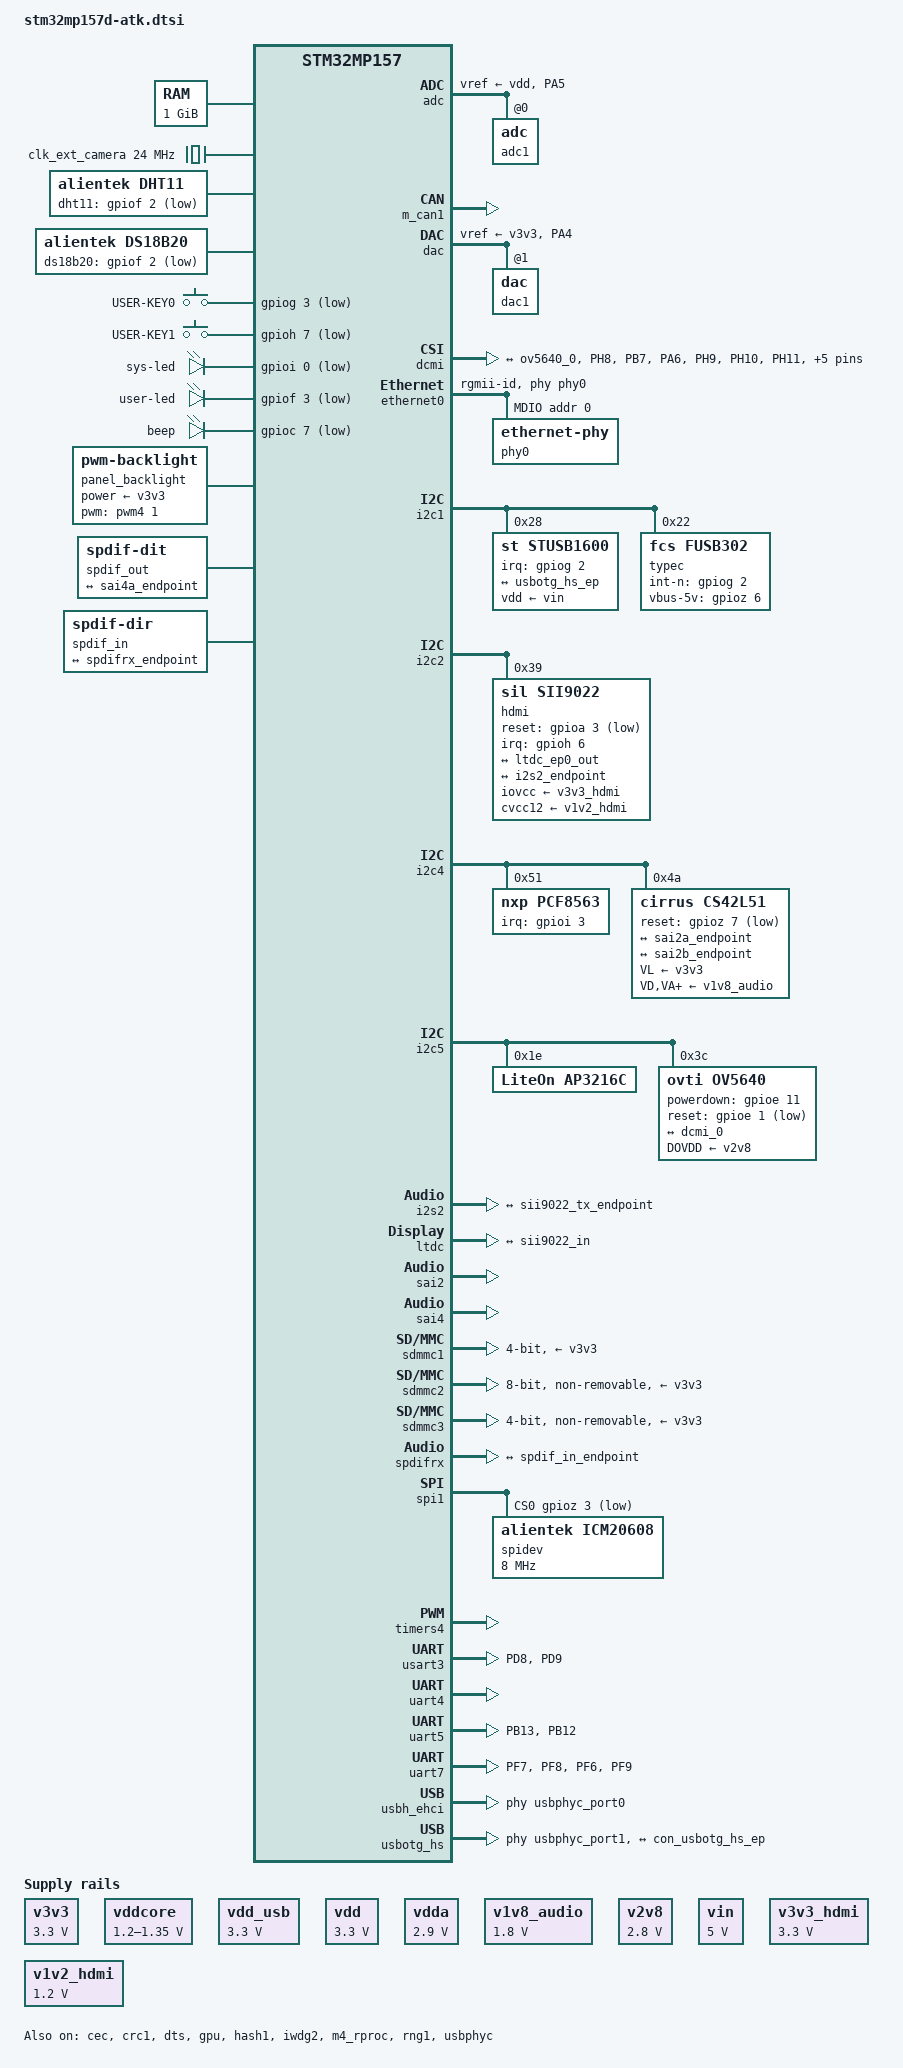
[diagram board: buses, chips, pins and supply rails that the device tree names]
// SPDX-License-Identifier: (GPL-2.0+ OR BSD-3-Clause)
/*
 * Copyright (C) STMicroelectronics 2019 - All Rights Reserved
 * Author: Alexandre Torgue <alexandre.torgue@st.com> for STMicroelectronics.
 */

#include "stm32mp157-m4-srm.dtsi"
#include "stm32mp157-m4-srm-pinctrl.dtsi"
#include <dt-bindings/mfd/st,stpmic1.h>
#include <dt-bindings/usb/pd.h>

/ {
	memory@c0000000 {
		device_type = "memory";
		reg = <0xc0000000 0x40000000>;
	};

	reserved-memory {
		#address-cells = <1>;
		#size-cells = <1>;
		ranges;

		mcuram2: mcuram2@10000000 {
			compatible = "shared-dma-pool";
			reg = <0x10000000 0x40000>;
			no-map;
		};

		vdev0vring0: vdev0vring0@10040000 {
			compatible = "shared-dma-pool";
			reg = <0x10040000 0x1000>;
			no-map;
		};

		vdev0vring1: vdev0vring1@10041000 {
			compatible = "shared-dma-pool";
			reg = <0x10041000 0x1000>;
			no-map;
		};

		vdev0buffer: vdev0buffer@10042000 {
			compatible = "shared-dma-pool";
			reg = <0x10042000 0x4000>;
			no-map;
		};

		mcuram: mcuram@30000000 {
			compatible = "shared-dma-pool";
			reg = <0x30000000 0x40000>;
			no-map;
		};

		retram: retram@38000000 {
			compatible = "shared-dma-pool";
			reg = <0x38000000 0x10000>;
			no-map;
		};
	};

    clocks {
            clk_ext_camera: clk-ext-camera {
            #clock-cells = <0>;
            compatible = "fixed-clock";
            clock-frequency = <24000000>;
        };
    };

    dht11 {
        compatible = "alientek,dht11";
        dht11-gpio = <&gpiof 2 GPIO_ACTIVE_LOW>;
        status = "okay";
    };

    ds18b20 {
        compatible = "alientek,ds18b20";
        ds18b20-gpio = <&gpiof 2 GPIO_ACTIVE_LOW>;
        status = "okay";
    };

    gpio-keys {
            compatible = "gpio-keys";
            autorepeat;
            key0 {
                label = "USER-KEY0";
                linux,code = <114>;
                gpios = <&gpiog 3 GPIO_ACTIVE_LOW>;
                gpio-key,wakeup;
            };

            key1 {
                label = "USER-KEY1";
                linux,code = <115>;
                gpios = <&gpioh 7 GPIO_ACTIVE_LOW>;
                gpio-key,wakeup;
            };
    };

    lcd_id {
        select_id = <0>;
    };

    leds {
         compatible = "gpio-leds";

         led1 {
             label = "sys-led";
             gpios = <&gpioi 0 GPIO_ACTIVE_LOW>;
             linux,default-trigger = "heartbeat";
             default-state = "on";
             status = "okay";
         };

         led2 {
             label = "user-led";
             gpios = <&gpiof 3 GPIO_ACTIVE_LOW>;
             linux,default-trigger = "none";
             default-state = "on";
             status = "okay";
         };

         beep {
             label = "beep";
             gpios = <&gpioc 7 GPIO_ACTIVE_LOW>;
             default-state = "off";
         };
     };

    panel_backlight: panel-backlight {
        compatible = "pwm-backlight";
        pwms = <&pwm4 1 5000000>;
        brightness-levels = <0 4 8 16 32 64 128 255>;
        power-supply = <&v3v3>;
        default-brightness-level = <7>;
        status = "okay";
    };

	usb_phy_tuning: usb-phy-tuning {
        st,hs-dc-level = <2>;
        st,fs-rftime-tuning;
        st,hs-rftime-reduction;
        st,hs-current-trim = <15>;
        st,hs-impedance-trim = <1>;
        st,squelch-level = <3>;
        st,hs-rx-offset = <2>;
        st,no-lsfs-sc;
    };

    v3v3: regulator-3p3v {
		compatible = "regulator-fixed";
        regulator-name = "v3v3";
        regulator-min-microvolt = <3300000>;
        regulator-max-microvolt = <3300000>;
        regulator-always-on;
        regulator-boot-on;
	};
     
	vddcore: buck1 {
		compatible = "regulator-fixed";
        regulator-name = "vddcore";
        regulator-min-microvolt = <1200000>;
        regulator-max-microvolt = <1350000>;
        regulator-always-on;
        regulator-boot-on;
	};

   vdd_usb: regulator-vdd-usb {
        compatible = "regulator-fixed";
        regulator-name = "vdd_usb";
        regulator-min-microvolt = <3300000>;
        regulator-max-microvolt = <3300000>;
        regulator-always-on;
        regulator-boot-on;
    };

    vdd: regulator-vdd {
        compatible = "regulator-fixed";
        regulator-name = "vdd";
        regulator-min-microvolt = <3300000>;
        regulator-max-microvolt = <3300000>;
        regulator-always-on;
        regulator-boot-on;
    };

    vdda: ldo1 {
        compatible = "regulator-fixed";
        regulator-name = "vdda";
        regulator-min-microvolt = <2900000>;
        regulator-max-microvolt = <2900000>;
        regulator-always-on;
        regulator-boot-on;
    };

    v1v8_audio: regulator-v1v8-audio {
        compatible = "regulator-fixed";
        regulator-name = "v1v8_audio";
        regulator-min-microvolt = <1800000>;
        regulator-max-microvolt = <1800000>;
        regulator-always-on;
        regulator-boot-on;
    };

    v2v8: regulator-v2v8 {
        compatible = "regulator-fixed";
        regulator-name = "v2v8";
        regulator-min-microvolt = <2800000>;
        regulator-max-microvolt = <2800000>;
        regulator-always-on;
        regulator-over-current-protection;
    };

   vin: regulator-vin {
        compatible = "regulator-fixed";
        regulator-name = "vin";
        regulator-min-microvolt = <5000000>;
        regulator-max-microvolt = <5000000>;
        regulator-always-on;
        regulator-boot-on;
    };

    v3v3_hdmi: regulator-v3v3-hdmi {
        compatible = "regulator-fixed";
        regulator-name = "v3v3_hdmi";
        regulator-min-microvolt = <3300000>;
        regulator-max-microvolt = <3300000>;
        regulator-always-on;
        regulator-boot-on;
    };

    v1v2_hdmi: regulator-v1v2-hdmi {
        compatible = "regulator-fixed";
        regulator-name = "v1v2_hdmi";
        regulator-min-microvolt = <1200000>;
        regulator-max-microvolt = <1200000>;
        regulator-always-on;
        regulator-boot-on;
    };

    spdif_out: spdif-out { 
        #sound-dai-cells = <0>;
        compatible = "linux,spdif-dit";
        status = "okay";

        spdif_out_port: port {
            spdif_out_endpoint: endpoint {
                remote-endpoint = <&sai4a_endpoint>;
            };
        };
    };

    spdif_in: spdif-in { 
        #sound-dai-cells = <0>;
        compatible = "linux,spdif-dir";
        status = "okay";

        spdif_in_port: port {
            spdif_in_endpoint: endpoint {
                remote-endpoint = <&spdifrx_endpoint>;
            };
        };
    };

#if 1
    sound: sound {
        compatible = "audio-graph-card";
        label = "STM32MP1-DK";
        routing =
            "Playback" , "MCLK",
            "Capture" , "MCLK",
            "MICL" , "Mic Bias";
        dais = <&sai2a_port &sai2b_port &i2s2_port &spdifrx_port>;
        status = "okay";
    };
#else
    sound: sound {
        compatible = "audio-graph-card";
        label = "STM32MP1-DK";

        widgets =
            "Microphone", "Mic Jack",
            "Line", "Line In",
            "Line", "Line Out",
            "Speaker", "Speaker",
            "Headphone", "Headphone Jack";

        routing =
            "Headphone Jack", "HP_L",
            "Headphone Jack", "HP_R",
            "Speaker", "SPK_LP",
            "Speaker", "SPK_LN",
            "Speaker", "SPK_RP",
            "Speaker", "SPK_RN",
            "LINPUT1", "Mic Jack",
            "LINPUT3", "Mic Jack",
            "RINPUT1", "Mic Jack",
            "RINPUT2", "Mic Jack";

        dais = <&sai2a_port &sai2b_port  &sai4a_port &spdifrx_port &i2s2_port>;
        status = "okay";
    };
#endif
};

&pinctrl {
    dac_ch1_pins_a: dac-ch1 {
         pins {
             pinmux = <STM32_PINMUX('A', 4, ANALOG)>; /* configure 'PA4' as ANALOG */
         };
     };

    adc1_in6_pins_b: adc1-in6 {
         pins {
             pinmux = <STM32_PINMUX('A', 5, ANALOG)>;
         };
     };

    dcmi_pins_b: dcmi-1 {
        pins {
            pinmux = <STM32_PINMUX('H', 8,  AF13)>,/* DCMI_HSYNC */
                <STM32_PINMUX('B', 7,  AF13)>,/* DCMI_VSYNC */
                <STM32_PINMUX('A', 6,  AF13)>,/* DCMI_PIXCLK */
                <STM32_PINMUX('H', 9,  AF13)>,/* DCMI_D0 */
                <STM32_PINMUX('H', 10, AF13)>,/* DCMI_D1 */
                <STM32_PINMUX('H', 11, AF13)>,/* DCMI_D2 */
                <STM32_PINMUX('H', 12, AF13)>,/* DCMI_D3 */
                <STM32_PINMUX('H', 14, AF13)>,/* DCMI_D4 */
                <STM32_PINMUX('I', 4,  AF13)>,/* DCMI_D5 */
                <STM32_PINMUX('B', 8,  AF13)>,/* DCMI_D6 */
                <STM32_PINMUX('E', 6,  AF13)>;/* DCMI_D7 */
            bias-disable;
        };
    };

    dcmi_sleep_pins_b: dcmi-sleep-1 {
        pins {
            pinmux = <STM32_PINMUX('H', 8,  ANALOG)>,/* DCMI_HSYNC */
                <STM32_PINMUX('B', 7,  ANALOG)>,/* DCMI_VSYNC */
                <STM32_PINMUX('A', 6,  ANALOG)>,/* DCMI_PIXCLK */
                <STM32_PINMUX('H', 9,  ANALOG)>,/* DCMI_D0 */
                <STM32_PINMUX('H', 10, ANALOG)>,/* DCMI_D1 */
                <STM32_PINMUX('H', 11, ANALOG)>,/* DCMI_D2 */
                <STM32_PINMUX('H', 12, ANALOG)>,/* DCMI_D3 */
                <STM32_PINMUX('H', 14, ANALOG)>,/* DCMI_D4 */
                <STM32_PINMUX('I', 4,  ANALOG)>,/* DCMI_D5 */
                <STM32_PINMUX('B', 8,  ANALOG)>,/* DCMI_D6 */
                <STM32_PINMUX('E', 6,  ANALOG)>;/* DCMI_D7 */
        };
    };

    stusb1600_pins_b: stusb1600-0 {
        pins {
            pinmux = <STM32_PINMUX('G', 2, ANALOG)>;
            bias-pull-up;
        };
    };

    uart7_pins_b: uart7-1 {
        pins1 {
            pinmux = <STM32_PINMUX('F', 7, AF7)>, /* UART7_TX */
                 <STM32_PINMUX('F', 8, AF7)>; /* UART7_RTS */
            bias-disable;
            drive-push-pull;
            slew-rate = <0>;
        };
        pins2 {
            pinmux = <STM32_PINMUX('F', 6, AF7)>, /* UART7_RX */
                 <STM32_PINMUX('F', 9, AF7)>; /* UART7_CTS_NSS */
            bias-disable;
        };
    };

    uart7_idle_pins_b: uart7-idle-1 {
        pins1 {
            pinmux = <STM32_PINMUX('F', 7, ANALOG)>, /* UART7_TX */
                 <STM32_PINMUX('F', 8, ANALOG)>, /* UART7_RTS */
                 <STM32_PINMUX('F', 9, ANALOG)>; /* UART7_CTS_NSS */
        };
        pins2 {
            pinmux = <STM32_PINMUX('F', 6, AF7)>; /* UART7_RX */
            bias-disable;
        };
    };

    uart7_sleep_pins_b: uart7-sleep-1 {
        pins {
            pinmux = <STM32_PINMUX('F', 7, ANALOG)>, /* UART7_TX */
                 <STM32_PINMUX('F', 8, ANALOG)>, /* UART7_RTS */
                 <STM32_PINMUX('F', 6, ANALOG)>, /* UART7_RX */
                 <STM32_PINMUX('F', 9, ANALOG)>; /* UART7_CTS_NSS */
        };
    };

    usart3_pins_c: uart3-0 {
        pins1 {
            pinmux = <STM32_PINMUX('D', 8, AF7)>; /* UART5_TX */
            bias-disable;
            drive-push-pull;
            slew-rate = <0>;
        };
        pins2 {
            pinmux = <STM32_PINMUX('D', 9, AF7)>; /* UART5_RX */
            bias-disable;
        };
    };

    usart3_idle_pins_c: uart3-idle-0 {
        pins1 {
            pinmux = <STM32_PINMUX('D', 8, ANALOG)>; /* UART5_TX */
        };
        pins2 {
            pinmux = <STM32_PINMUX('D', 9, AF7)>; /* UART5_RX */
            bias-disable;
        };
    };

    usart3_sleep_pins_c: uart3-sleep-0 {
        pins {
            pinmux = <STM32_PINMUX('D', 8, ANALOG)>, /* UART5_TX */
                 <STM32_PINMUX('D', 9, ANALOG)>; /* UART5_RX */
        };
    };

   uart5_pins_a: uart5-0 {
       pins1 {
           pinmux = <STM32_PINMUX('B', 13, AF14)>; /* UART5_TX */
           bias-disable;
           drive-push-pull;
           slew-rate = <0>;
       };
       pins2 {
           pinmux = <STM32_PINMUX('B', 12, AF14)>; /* UART5_RX */
           bias-disable;
       };
   };

   uart5_idle_pins_a: uart5-idle-0 {
       pins1 {
           pinmux = <STM32_PINMUX('B', 13, ANALOG)>; /* UART5_TX */
       };
       pins2 {
           pinmux = <STM32_PINMUX('B', 12, AF14)>; /* UART5_RX */
           bias-disable;
       };
   };

   uart5_sleep_pins_a: uart5-sleep-0 {
       pins {
           pinmux = <STM32_PINMUX('B', 13, ANALOG)>, /* UART5_TX */
                <STM32_PINMUX('B', 12, ANALOG)>; /* UART5_RX */
       };
   };

   i2s2_pins_b: i2s2-2 {
       pins {
           pinmux = <STM32_PINMUX('C', 3, AF5)>, /* I2S2_SDO */
                <STM32_PINMUX('B', 9, AF5)>, /* I2S2_WS */
                <STM32_PINMUX('B', 10, AF5)>; /* I2S2_CK */
           slew-rate = <1>;
           drive-push-pull;
           bias-disable;
       };
   };

   i2s2_pins_sleep_b: i2s2-3 {
       pins {
           pinmux = <STM32_PINMUX('C', 3, ANALOG)>, /* I2S2_SDO */
                <STM32_PINMUX('B', 9, ANALOG)>, /* I2S2_WS */
                <STM32_PINMUX('B', 10, ANALOG)>; /* I2S2_CK */
       };
   };
};

&adc {
    /* ADC1 & ADC2 common resources */
    pinctrl-names = "default";
    pinctrl-0 = <&adc1_in6_pins_b>;
	vdd-supply = <&vdd>;
	vdda-supply = <&vdd>;
	vref-supply = <&vdd>;

    status = "okay";

    adc1: adc@0 {
        /* private resources for ADC1 */
        st,adc-channels = <19>;
        st,min-sample-time-nsecs = <10000>;
        status = "okay";
    };
};

&m_can1 {
        pinctrl-names = "default", "sleep";
        pinctrl-0 = <&m_can1_pins_a>;
        pinctrl-1 = <&m_can1_sleep_pins_a>;
        status = "okay";
};

&cec {
	pinctrl-names = "default", "sleep";
	pinctrl-0 = <&cec_pins_b>;
	pinctrl-1 = <&cec_pins_sleep_b>;
	status = "okay";
};

&crc1 {
	status = "okay";
};

&dac {
    pinctrl-names = "default";
    pinctrl-0 = <&dac_ch1_pins_a>;                   /* Use PA4 and PA5 pin as ANALOG */
    vref-supply = <&v3v3>;                           /* Example to use VREFBUF (It needs to be enabled as well) */
    status = "okay";                                 /* Enable the DAC block */
    dac1: dac@1 {
        status = "okay";                             /* Enable DAC1 */
    };
};

&dcmi {
    status = "okay";
    pinctrl-names = "default", "sleep";
    pinctrl-0 = <&dcmi_pins_b>;
    pinctrl-1 = <&dcmi_sleep_pins_b>;

    port {
        dcmi_0: endpoint {
            remote-endpoint = <&ov5640_0>;
            bus-width = <8>;
            hsync-active = <0>;
            vsync-active = <0>;
            pclk-sample = <1>;
            pclk-max-frequency = <77000000>;
        };
    };
};

&dma1 {
	sram = <&dma_pool>;
};

&dma2 {
	sram = <&dma_pool>;
};

&dts {
	status = "okay";
};

&ethernet0 {
	status = "okay";
	pinctrl-0 = <&ethernet0_rgmii_pins_a>;
	pinctrl-1 = <&ethernet0_rgmii_pins_sleep_a>;
	pinctrl-names = "default", "sleep";
	phy-mode = "rgmii-id";
	max-speed = <1000>;
	phy-handle = <&phy0>;

	mdio0 {
		#address-cells = <1>;
		#size-cells = <0>;
		compatible = "snps,dwmac-mdio";
		phy0: ethernet-phy@0 {
			reg = <0>;
		};
	};
};

&gpu {
	contiguous-area = <&gpu_reserved>;
	status = "okay";
};

&hash1 {
	status = "okay";
};

&ipcc {
	status = "okay";
};

&i2c1 {
    pinctrl-names = "default", "sleep";
    pinctrl-0 = <&i2c1_pins_b>;
    pinctrl-1 = <&i2c1_pins_sleep_b>;
    i2c-scl-rising-time-ns = <100>;
    i2c-scl-falling-time-ns = <7>;
    status = "okay";
    /delete-property/dmas;
    /delete-property/dma-names;

    stusb1600@28 {
        compatible = "st,stusb1600";
        reg = <0x28>;
        interrupts = <2 IRQ_TYPE_EDGE_FALLING>;
        interrupt-parent = <&gpiog>;
        pinctrl-names = "default";
        pinctrl-0 = <&stusb1600_pins_b>;
        status = "okay";
        vdd-supply = <&vin>;

        connector {
            compatible = "usb-c-connector";
            label = "USB-C";
            power-role = "dual";
            power-opmode = "default";

            port {
                con_usbotg_hs_ep: endpoint {
                    remote-endpoint = <&usbotg_hs_ep>;
                };
            };
        };
    };

    typec: fusb302@22 {
        compatible = "fcs,fusb302","fairchild,fusb302";
        reg = <0x22>;
        pinctrl-names = "default";
        pinctrl-0 = <&stusb1600_pins_b>;
        int-n-gpios = <&gpiog 2 GPIO_ACTIVE_HIGH>;
        vbus-5v-gpios = <&gpioz 6 GPIO_ACTIVE_HIGH>;
        status = "okay";

        connector {
            compatible = "usb-c-connector";
            label = "USB-C";
            power-role = "dual";
            power-opmode = "default";

                try-power-role = "sink";
                source-pdos = <PDO_FIXED(5000, 3000, PDO_FIXED_USB_COMM)>;
                sink-pdos = <PDO_FIXED(5000, 3000, PDO_FIXED_USB_COMM)
                             PDO_VAR(3000, 12000, 3000)
                             PDO_PPS_APDO(3000, 11000, 3000)>;
                op-sink-microwatt = <10000000>;
        };
    };
};

&i2c2 {
    pinctrl-names = "default", "sleep";
    pinctrl-0 = <&i2c2_pins_a>;
    pinctrl-1 = <&i2c2_pins_sleep_a>;
    i2c-scl-rising-time-ns = <185>;
    i2c-scl-falling-time-ns = <20>;
    status = "okay";
    /delete-property/dmas;
    /delete-property/dma-names;

    hdmi: hdmi-transmitter@39 {
		compatible = "sil,sii9022";
		reg = <0x39>;
		iovcc-supply = <&v3v3_hdmi>;
		cvcc12-supply = <&v1v2_hdmi>;
		reset-gpios = <&gpioa 3 GPIO_ACTIVE_LOW>;
		interrupts = <6 IRQ_TYPE_EDGE_FALLING>;
		interrupt-parent = <&gpioh>;
		#sound-dai-cells = <1>;
		status = "okay";

		ports {
			#address-cells = <1>;
			#size-cells = <0>;

			port@0 {
				reg = <0>;
				sii9022_in: endpoint {
					remote-endpoint = <&ltdc_ep0_out>;
				};
			};

			port@3 {
				reg = <3>;
				sii9022_tx_endpoint: endpoint {
					remote-endpoint = <&i2s2_endpoint>;
				};
			};
		};
	};
};

&i2c4 {
    pinctrl-names = "default", "sleep";
    pinctrl-0 = <&i2c4_pins_a>;
    pinctrl-1 = <&i2c4_pins_sleep_a>;
    i2c-scl-rising-time-ns = <185>;
    i2c-scl-falling-time-ns = <20>;
    status = "okay";
    /delete-property/dmas;
    /delete-property/dma-names;

	pcf8563@51{
		compatible = "nxp,pcf8563";
		irq_gpio = <&gpioi 3 IRQ_TYPE_EDGE_FALLING>;
		reg = <0x51>;
	};
#if 0
    wm8960: wm8960@1a {
        compatible = "wlf,wm8960";
        reg = <0x1a>;
        #sound-dai-cells = <0>;
        status = "okay";
        //wlf,shared-lrclk;
        wlf,capless;
        clocks = <&sai2a>;
        clock-names = "MCLK1";

        ports {
            #address-cells = <1>;
            #size-cells = <0>;

            wm8960_tx_port: port@0 {
                reg = <0>;
                wm8960_tx_endpoint: endpoint {
                    remote-endpoint = <&sai2a_endpoint>;
                };
            };

            wm8960_rx_port: port@1 {
                reg = <1>;
                wm8960_rx_endpoint: endpoint {
                    remote-endpoint = <&sai2b_endpoint>;
                };
            };
        };
    };
#else
    cs42l51: cs42l51@4a {
        compatible = "cirrus,cs42l51";
        reg = <0x4a>;
        #sound-dai-cells = <0>;
        VL-supply = <&v3v3>;
        VD-supply = <&v1v8_audio>;
        VA-supply = <&v1v8_audio>;
        VAHP-supply = <&v1v8_audio>;
        reset-gpios = <&gpioz 7 GPIO_ACTIVE_LOW>;
        clocks = <&sai2a>;
        clock-names = "MCLK";
        status = "okay";

        cs42l51_port: port {
            #address-cells = <1>;
            #size-cells = <0>;

            cs42l51_tx_endpoint: endpoint@0 {
                reg = <0>;
                remote-endpoint = <&sai2a_endpoint>;
                frame-master;
                bitclock-master;
            };

            cs42l51_rx_endpoint: endpoint@1 {
                reg = <1>;
                remote-endpoint = <&sai2b_endpoint>;
                frame-master;
                bitclock-master;
            };
        };
    };
#endif
};

&i2c5 {
    pinctrl-names = "default", "sleep";
    pinctrl-0 = <&i2c5_pins_a>;
    pinctrl-1 = <&i2c5_pins_sleep_a>;
    i2c-scl-rising-time-ns = <100>;
    i2c-scl-falling-time-ns = <7>;
    status = "okay";
    /delete-property/dmas;
    /delete-property/dma-names;

    ap3216c@1e {
		compatible = "LiteOn,ap3216c";
        reg = <0x1e>;
	};

    ov5640: camera@3c {
        compatible = "ovti,ov5640";
        reg = <0x3c>;
        clocks = <&clk_ext_camera>;
        clock-names = "xclk";
        DOVDD-supply = <&v2v8>;
        powerdown-gpios = <&gpioe 11 (GPIO_ACTIVE_HIGH | GPIO_PUSH_PULL)>;
        reset-gpios = <&gpioe 1 (GPIO_ACTIVE_LOW | GPIO_PUSH_PULL)>;
        rotation = <180>;
        status = "okay";

        port {
            ov5640_0: endpoint {
                remote-endpoint = <&dcmi_0>;
                bus-width = <8>;
                data-shift = <2>;
                hsync-active = <0>;
                vsync-active = <0>;
                pclk-sample = <1>;
                pclk-max-frequency = <77000000>;
            };
        };
    };
};

&i2s2 {
	clocks = <&rcc SPI2>, <&rcc SPI2_K>, <&rcc PLL3_Q>, <&rcc PLL3_R>;
	clock-names = "pclk", "i2sclk", "x8k", "x11k";
	pinctrl-names = "default", "sleep";
	pinctrl-0 = <&i2s2_pins_a>;
	pinctrl-1 = <&i2s2_pins_sleep_a>;
	status = "okay";

	i2s2_port: port {
		i2s2_endpoint: endpoint {
			remote-endpoint = <&sii9022_tx_endpoint>;
			format = "i2s";
			mclk-fs = <256>;
		};
	};
};


&iwdg2 {
	timeout-sec = <32>;
	status = "okay";
};

&ltdc {
	pinctrl-names = "default", "sleep";
	pinctrl-0 = <&ltdc_pins_b>;
	pinctrl-1 = <&ltdc_pins_sleep_b>;
	status = "okay";

	port {
		#address-cells = <1>;
		#size-cells = <0>;

		ltdc_ep0_out: endpoint@0 {
			reg = <0>;
			remote-endpoint = <&sii9022_in>;
		};
	};
};

&m4_rproc {
	memory-region = <&retram>, <&mcuram>, <&mcuram2>, <&vdev0vring0>,
			<&vdev0vring1>, <&vdev0buffer>;
	mboxes = <&ipcc 0>, <&ipcc 1>, <&ipcc 2>;
	mbox-names = "vq0", "vq1", "shutdown";
	interrupt-parent = <&exti>;
	interrupts = <68 1>;
	wakeup-source;
	status = "okay";
};

&rng1 {
	status = "okay";
};

&sai2 {
    clocks = <&rcc SAI2>, <&rcc PLL3_Q>, <&rcc PLL3_R>;
    clock-names = "pclk", "x8k", "x11k";
    pinctrl-names = "default", "sleep";
    pinctrl-0 = <&sai2a_pins_a>, <&sai2b_pins_b>;
    pinctrl-1 = <&sai2a_sleep_pins_a>, <&sai2b_sleep_pins_b>;
    status = "okay";

    sai2a: audio-controller@4400b004 {
        #clock-cells = <0>;
        dma-names = "tx";
        clocks = <&rcc SAI2_K>;
        clock-names = "sai_ck";
        status = "okay";

        sai2a_port: port {
            sai2a_endpoint: endpoint {
                remote-endpoint = <&cs42l51_tx_endpoint>;
                format = "i2s";
                mclk-fs = <256>; 
                dai-tdm-slot-num = <2>;
                dai-tdm-slot-width = <32>;
            };
        };
    };

    sai2b: audio-controller@4400b024 {
        dma-names = "rx";
        st,sync = <&sai2a 2>;
        clocks = <&rcc SAI2_K>, <&sai2a>;
        clock-names = "sai_ck", "MCLK";
        status = "okay";

        sai2b_port: port {
            sai2b_endpoint: endpoint {
                remote-endpoint = <&cs42l51_rx_endpoint>;
                format = "i2s";
                mclk-fs = <256>;
                dai-tdm-slot-num = <2>;
                dai-tdm-slot-width = <32>;
            };
        };
    };
};

&sai4 {
    clocks = <&rcc SAI4>, <&rcc PLL3_Q>, <&rcc PLL3_R>;
    clock-names = "pclk", "x8k", "x11k";
    status = "okay";

    sai4a: audio-controller@50027004 {
        pinctrl-names = "default", "sleep";
        pinctrl-0 = <&sai4a_pins_a>;
        pinctrl-1 = <&sai4a_sleep_pins_a>;
        dma-names = "tx";
        clocks = <&rcc SAI4_K>;
        clock-names = "sai_ck";
        st,iec60958;
        status = "okay";

        sai4a_port: port {
            sai4a_endpoint: endpoint {
                remote-endpoint = <&spdif_out_endpoint>;
            };
        };
    };
};

&sdmmc1 {
	pinctrl-names = "default", "opendrain", "sleep";
	pinctrl-0 = <&sdmmc1_b4_pins_a>;
	pinctrl-1 = <&sdmmc1_b4_od_pins_a>;
	pinctrl-2 = <&sdmmc1_b4_sleep_pins_a>;
	broken-cd;
	st,neg-edge;
	bus-width = <4>;
	vmmc-supply = <&v3v3>;
	status = "okay";
};

&sdmmc2 {
	pinctrl-names = "default", "opendrain", "sleep";
	pinctrl-0 = <&sdmmc2_b4_pins_a>;
	pinctrl-1 = <&sdmmc2_b4_od_pins_a>;
	pinctrl-2 = <&sdmmc2_b4_sleep_pins_a>;
	non-removable;
	st,neg-edge;
	bus-width = <8>;
	vmmc-supply = <&v3v3>;
	keep-power-in-suspend;
	status = "okay";
};

&sdmmc3 {
    arm,primecell-periphid = <0x10153180>;
    pinctrl-names = "default", "opendrain", "sleep";
    pinctrl-0 = <&sdmmc3_b4_pins_a>;
    pinctrl-1 = <&sdmmc3_b4_od_pins_a>;
    pinctrl-2 = <&sdmmc3_b4_sleep_pins_a>;
    non-removable;
    st,neg-edge;
    bus-width = <4>;
    vmmc-supply = <&v3v3>;
    status = "okay";
    keep-power-in-suspend;
};

&spdifrx {
    pinctrl-names = "default", "sleep";
    pinctrl-0 = <&spdifrx_pins_a>;
    pinctrl-1 = <&spdifrx_pins_a>;
    status = "okay";

    spdifrx_port: port {
        spdifrx_endpoint: endpoint {
            remote-endpoint = <&spdif_in_endpoint>;
        };
    };
};

&sram {
	dma_pool: dma_pool@0 {
		reg = <0x50000 0x10000>;
		pool;
	};
};

&spi1 {
   pinctrl-names = "default", "sleep";
   pinctrl-0 = <&spi1_pins_a>;
   pinctrl-1 = <&spi1_sleep_pins_a>;
   cs-gpios = <&gpioz 3 GPIO_ACTIVE_LOW>;
   status = "okay";

    spidev: icm20608@0 {
        compatible = "alientek,icm20608";
        reg = <0>; /* CS #0 */
        spi-max-frequency = <8000000>;
    };
};

&timers4 {
    status = "okay";
    /* spare dmas for other usage */
    /delete-property/dmas;
    /delete-property/dma-names;
    pwm4: pwm {
        pinctrl-0 = <&pwm4_pins_b>;
        pinctrl-1 = <&pwm4_sleep_pins_b>;
        pinctrl-names = "default", "sleep";
        #pwm-cells = <2>;
        status = "okay";
    };
};

&usart3 {
    pinctrl-names = "default", "sleep", "idle";
    pinctrl-0 = <&usart3_pins_c>;
    pinctrl-1 = <&usart3_sleep_pins_c>;
    pinctrl-2 = <&usart3_idle_pins_c>;
    /delete-property/dmas;
    /delete-property/dma-names;
    status = "okay";
};

&uart4 {
    pinctrl-names = "default", "sleep", "idle", "no_console_suspend";
    pinctrl-0 = <&uart4_pins_a>;
    pinctrl-1 = <&uart4_sleep_pins_a>;
    pinctrl-2 = <&uart4_idle_pins_a>;
    pinctrl-3 = <&uart4_pins_a>;
    /delete-property/dmas;
    /delete-property/dma-names;
    status = "okay";
};

&uart5 {
    pinctrl-names = "default", "sleep", "idle";
    pinctrl-0 = <&uart5_pins_a>;
    pinctrl-1 = <&uart5_sleep_pins_a>;
    pinctrl-2 = <&uart5_idle_pins_a>;
    /delete-property/dmas;
    /delete-property/dma-names;
    status = "okay";
};

&uart7 {
    pinctrl-names = "default", "sleep", "idle";
    pinctrl-0 = <&uart7_pins_b>;
    pinctrl-1 = <&uart7_sleep_pins_b>;
    pinctrl-2 = <&uart7_idle_pins_b>;
    /delete-property/dmas;
    /delete-property/dma-names;
    st,hw-flow-ctrl;
    status = "okay";
};

&usbh_ehci {
    phys = <&usbphyc_port0>;
    status = "okay";
};

&usbotg_hs {
    phys = <&usbphyc_port1 0>;
    phy-names = "usb2-phy";
    usb-role-switch;
    status = "okay";

    port {
        usbotg_hs_ep: endpoint {
            remote-endpoint = <&con_usbotg_hs_ep>;
        };
    };
};

&usbphyc {
    status = "okay";
};

&usbphyc_port0 {
    phy-supply = <&vdd_usb>;
    st,phy-tuning = <&usb_phy_tuning>;
};

&usbphyc_port1 {
    phy-supply = <&vdd_usb>;
    st,phy-tuning = <&usb_phy_tuning>;
};
